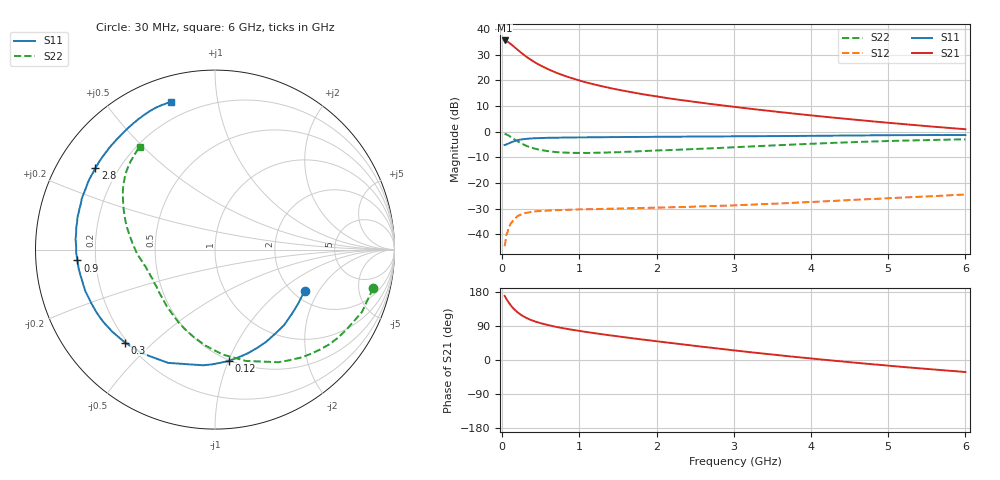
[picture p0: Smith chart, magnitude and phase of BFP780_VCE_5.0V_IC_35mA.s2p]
! Infineon Technologies  Discrete & RF Semiconductors
! BFP780
! VCE =  5.0 V,  IC =  35 mA
! Common Emitter S-Parameters:  Jul 2015
# GHz  S  MA  R  50
!  f  S11  S21  S12  S22
! GHz  MAG  ANG  MAG  ANG  MAG  ANG  MAG  ANG
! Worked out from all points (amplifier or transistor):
!   75 points, 30 MHz to 6 GHz, reference 50 ohm
!   highest |S21| = 35.5 dB at 30 MHz (marker M1)
!   |S21| within 3 dB of that: start of sweep to 173.8 MHz
!   unconditionally stable (mu >= 1): 2.071 GHz to end of sweep
!   at 150 MHz: K = 0.17, MSG = 33.7 dB, |S12| = -34.2 dB
!   at 2.3 GHz: K = 1.08, MAG = 19.2 dB, |S12| = -29.4 dB
!   at 6 GHz: K = 1.22, MAG = 9.9 dB, |S12| = -24.5 dB
!   S11 on the Smith chart (normalised r, x): 30 MHz: 2.31, -1.51; 120 MHz: 0.49, -1.00; 300 MHz: 0.19, -0.41; 900 MHz: 0.13, -0.04; 2.8 GHz: 0.12, +0.30; 6 GHz: 0.12, +0.74
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0.03  0.5493 -24.6  59.49 169.3  0.0059 59.3  0.9074 -13.8
0.05  0.5585 -39.9  57.98 162.2  0.0093 67.1  0.8897 -23.0
0.08  0.5873 -60.9  54.69 152.7  0.0136 57.1  0.8419 -35.9
0.1  0.6059 -72.4  52 147.0  0.0151 55.5  0.8077 -43.6
0.12  0.6246 -83.0  49.28 141.6  0.017 50.6  0.7725 -50.9
0.15  0.648 -96.0  45.2 134.8  0.0194 45.7  0.7201 -60.6
0.2  0.6831 -112.5  38.96 125.5  0.0229 39.8  0.6442 -74.4
0.25  0.7052 -124.7  33.84 118.1  0.0245 34.1  0.5864 -85.8
0.3  0.721 -134.0  29.59 112.2  0.0261 30.0  0.5388 -95.4
0.35  0.7326 -141.3  26.18 107.4  0.0268 27.1  0.5027 -103.4
0.4  0.7413 -147.0  23.4 103.5  0.0278 25.8  0.4757 -110.2
0.5  0.7506 -155.9  19.22 97.0  0.0285 21.7  0.4375 -121.3
0.7  0.7611 -167.6  14.01 87.3  0.0296 18.1  0.3993 -137.0
0.9  0.7689 -175.5  10.97 79.9  0.0303 16.5  0.3857 -147.6
1.1  0.774 178.4  8.976 73.6  0.0309 15.6  0.3845 -155.3
1.5  0.783 168.9  6.555 62.4  0.0318 16.0  0.3977 -166.0
2.1  0.7952 157.4  4.587 47.0  0.0333 16.7  0.4339 -176.9
2.8  0.8066 145.7  3.312 30.2  0.0359 18.6  0.48 171.0
3.1  0.8119 140.9  2.92 23.2  0.0373 19.5  0.5045 166.0
4.1  0.8307 126.6  2.002 2.0  0.0434 20.8  0.5878 150.8
5.1  0.8535 115.0  1.444 -16.7  0.0514 19.1  0.6619 137.7
6  0.859 106.7  1.114 -31.7  0.0597 14.8  0.7097 126.1
